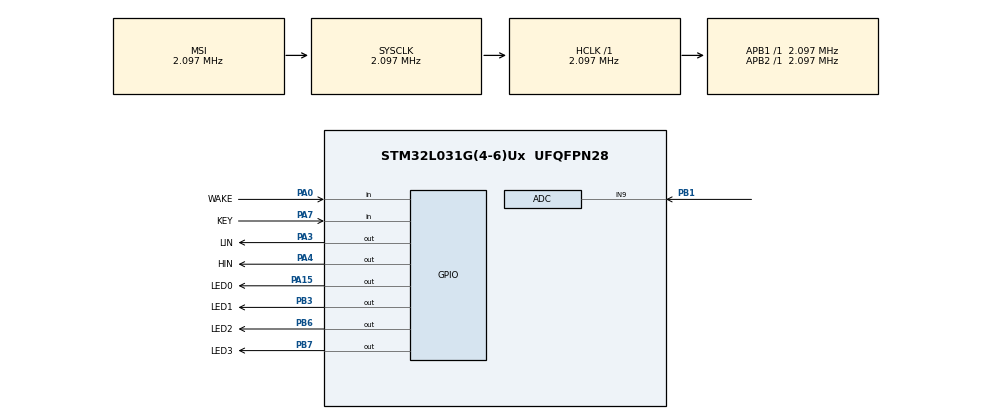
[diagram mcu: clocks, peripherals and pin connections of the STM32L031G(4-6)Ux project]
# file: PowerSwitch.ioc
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Mcu.Family=STM32L0
Mcu.Name=STM32L031G(4-6)Ux
Mcu.Package=UFQFPN28
PA0-CK_IN.GPIO_Label=WAKE
PA0-CK_IN.Signal=GPIO_Input
PA13.Mode=Serial_Wire
PA13.Signal=SYS_SWDIO
PA14.Mode=Serial_Wire
PA14.Signal=SYS_SWCLK
PA15.GPIO_Label=LED0
PA15.Signal=GPIO_Output
PA3.GPIO_Label=LIN
PA3.Signal=GPIO_Output
PA4.GPIO_Label=HIN
PA4.Signal=GPIO_Output
PA7.GPIO_Label=KEY
PA7.Signal=GPIO_Input
PB1.Mode=IN9
PB1.Signal=ADC_IN9
PB3.GPIO_Label=LED1
PB3.Signal=GPIO_Output
PB6.GPIO_Label=LED2
PB6.Signal=GPIO_Output
PB7.GPIO_Label=LED3
PB7.Signal=GPIO_Output
ProjectManager.HeapSize=0x200
ProjectManager.StackSize=0x400
ProjectManager.TargetToolchain=MDK-ARM V5.32
RCC.AHBFreq_Value=2097000
RCC.APB1Freq_Value=2097000
RCC.APB1TimFreq_Value=2097000
RCC.APB2Freq_Value=2097000
RCC.APB2TimFreq_Value=2097000
RCC.HCLKFreq_Value=2097000
RCC.HSE_VALUE=8000000
RCC.HSI16_VALUE=16000000
RCC.HSI_VALUE=16000000
RCC.LSE_VALUE=32768
RCC.MSI_VALUE=2097000
RCC.SYSCLKFreq_VALUE=2097000
RCC.VCOOutputFreq_Value=48000000
VP_SYS_VS_LPOM.Mode=PowerOptimisation
board=custom

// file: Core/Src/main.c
/* USER CODE BEGIN Header */
/**
  ******************************************************************************
  * @file           : main.c
  * @brief          : Main program body
  ******************************************************************************
  * @attention
  *
  * Copyright (c) 2025 STMicroelectronics.
  * All rights reserved.
  *
  * This software is licensed under terms that can be found in the LICENSE file
  * in the root directory of this software component.
  * If no LICENSE file comes with this software, it is provided AS-IS.
  *
  ******************************************************************************
  */
/* USER CODE END Header */
#include "main.h"
#include "adc.h"
#include "gpio.h"

/* USER CODE BEGIN PV */
// 参考Project1原始设计的电池参数（14串锂电池：42V-58.8V）
#define BATTERY_VOLTAGE_MIN 42.0f   // 14串最低电压 (3.0V * 14)
#define BATTERY_VOLTAGE_MAX 58.8f   // 14串最高电压 (4.2V * 14)
#define ADC_VREF 3.3f               // ADC参考电压

// ADC采样值转电压的计算公式：voltage = (ADC_Value / 4095.0) * 58.0
// 这意味着：实际电压 = (ADC / 4095) * ADC_VREF * 分压比
// 所以：分压比 = 58.0 / 3.3 = 17.58
#define VOLTAGE_DIVIDER_RATIO 17.58f  // 从Project1原始设计计算得出

// 电量分级阈值（参考Project1原始设计）
#define VOLTAGE_LEVEL_1 50.4f  // LED0与LED0+LED1的分界点
#define VOLTAGE_LEVEL_2 53.9f  // LED0+LED1与LED0+LED1+LED2的分界点
#define VOLTAGE_LEVEL_3 56.0f  // LED0+LED1+LED2与全部LED的分界点

// 按键相关变量
uint8_t openfilg = 1;  // 开关机标志 (默认开机)
uint32_t button_press_start_time = 0;  // 按键按下开始时间
uint8_t button_was_pressed = 0;  // 上一次循环按键状态
uint8_t key_display_active = 0;  // KEY按键按下时显示电量
/* USER CODE END PV */

void SystemClock_Config(void);
/* USER CODE BEGIN PFP */
// 根据电压显示电量LED（参考Project1原始设计）
void display_battery_voltage(float voltage);
// 处理KEY按键（PA7）长按开关机
void handle_key_button(void);
/* USER CODE END PFP */

int main(void)
{

  /* MCU Configuration--------------------------------------------------------*/

  /* Reset of all peripherals, Initializes the Flash interface and the Systick. */
  HAL_Init();

  /* Configure the system clock */
  SystemClock_Config();

  /* Initialize all configured peripherals */
  MX_GPIO_Init();
  MX_ADC_Init();
  /* USER CODE BEGIN 2 */
  int Value = 0;
  float voltage = 0.0;
  uint32_t current_time = 0;

  // 初始化：HIN开机（参考Project1，初始为RESET）
  HAL_GPIO_WritePin(HIN_GPIO_Port, HIN_Pin, GPIO_PIN_RESET);

  // 初始化所有LED为关闭
  HAL_GPIO_WritePin(LED0_GPIO_Port, LED0_Pin, GPIO_PIN_RESET);
  HAL_GPIO_WritePin(LED1_GPIO_Port, LED1_Pin, GPIO_PIN_RESET);
  HAL_GPIO_WritePin(LED2_GPIO_Port, LED2_Pin, GPIO_PIN_RESET);
  HAL_GPIO_WritePin(LED3_GPIO_Port, LED3_Pin, GPIO_PIN_RESET);
  /* USER CODE END 2 */

  /* Infinite loop */
  /* USER CODE BEGIN WHILE */
  while (1)
  {
	  // 读取ADC电压（参考Project1原始设计）
	  HAL_ADC_Start(&hadc);
	  HAL_ADC_PollForConversion(&hadc, HAL_MAX_DELAY);
	  Value = HAL_ADC_GetValue(&hadc);
	  voltage = (Value / 4095.0f) * 58.0f;  // 直接使用Project1的公式

	  // 处理KEY按键（PA7）- 长按3秒开关机（无论开关机状态都要检测）
	  handle_key_button();

	  // 根据开关机状态控制LED和电源（参考Project1原始设计）
	  if(openfilg == 1){
		  // ========== 开机状态 ==========

		  // 按KEY显示电量（display_battery_voltage内部会控制HIN）
		  if(key_display_active == 1){
			  display_battery_voltage(voltage);  // 内部会根据电压设置HIN
		  } else {
			  // 不按KEY时：LED全部熄灭，但HIN仍需根据电压控制
			  HAL_GPIO_WritePin(LED0_GPIO_Port, LED0_Pin, GPIO_PIN_RESET);
			  HAL_GPIO_WritePin(LED1_GPIO_Port, LED1_Pin, GPIO_PIN_RESET);
			  HAL_GPIO_WritePin(LED2_GPIO_Port, LED2_Pin, GPIO_PIN_RESET);
			  HAL_GPIO_WritePin(LED3_GPIO_Port, LED3_Pin, GPIO_PIN_RESET);

			  // 即使不按KEY，也要控制HIN（根据电压保护）
			  if(voltage >= BATTERY_VOLTAGE_MIN && voltage <= BATTERY_VOLTAGE_MAX){
				  HAL_GPIO_WritePin(HIN_GPIO_Port, HIN_Pin, GPIO_PIN_RESET);  // 正常电压：电源通
			  } else {
				  HAL_GPIO_WritePin(HIN_GPIO_Port, HIN_Pin, GPIO_PIN_SET);  // 异常电压：电源断
			  }
		  }

	  } else {
		  // ========== 关机状态 ==========

		  // 所有LED熄灭
		  HAL_GPIO_WritePin(LED0_GPIO_Port, LED0_Pin, GPIO_PIN_RESET);
		  HAL_GPIO_WritePin(LED1_GPIO_Port, LED1_Pin, GPIO_PIN_RESET);
		  HAL_GPIO_WritePin(LED2_GPIO_Port, LED2_Pin, GPIO_PIN_RESET);
		  HAL_GPIO_WritePin(LED3_GPIO_Port, LED3_Pin, GPIO_PIN_RESET);

		  // HIN=SET（电源断）
		  HAL_GPIO_WritePin(HIN_GPIO_Port, HIN_Pin, GPIO_PIN_SET);
	  }

	  HAL_Delay(50);  // 延时50ms
    /* USER CODE END WHILE */

  }
}

void SystemClock_Config(void)
{
  RCC_OscInitTypeDef RCC_OscInitStruct = {0};
  RCC_ClkInitTypeDef RCC_ClkInitStruct = {0};

  /** Configure the main internal regulator output voltage
  */
  __HAL_PWR_VOLTAGESCALING_CONFIG(PWR_REGULATOR_VOLTAGE_SCALE1);

  /** Initializes the RCC Oscillators according to the specified parameters
  * in the RCC_OscInitTypeDef structure.
  */
  RCC_OscInitStruct.OscillatorType = RCC_OSCILLATORTYPE_MSI;
  RCC_OscInitStruct.MSIState = RCC_MSI_ON;
  RCC_OscInitStruct.MSICalibrationValue = 0;
  RCC_OscInitStruct.MSIClockRange = RCC_MSIRANGE_5;
  RCC_OscInitStruct.PLL.PLLState = RCC_PLL_NONE;
  if (HAL_RCC_OscConfig(&RCC_OscInitStruct) != HAL_OK)
  {
    Error_Handler();
  }

  /** Initializes the CPU, AHB and APB buses clocks
  */
  RCC_ClkInitStruct.ClockType = RCC_CLOCKTYPE_HCLK|RCC_CLOCKTYPE_SYSCLK
                              |RCC_CLOCKTYPE_PCLK1|RCC_CLOCKTYPE_PCLK2;
  RCC_ClkInitStruct.SYSCLKSource = RCC_SYSCLKSOURCE_MSI;
  RCC_ClkInitStruct.AHBCLKDivider = RCC_SYSCLK_DIV1;
  RCC_ClkInitStruct.APB1CLKDivider = RCC_HCLK_DIV1;
  RCC_ClkInitStruct.APB2CLKDivider = RCC_HCLK_DIV1;

  if (HAL_RCC_ClockConfig(&RCC_ClkInitStruct, FLASH_LATENCY_0) != HAL_OK)
  {
    Error_Handler();
  }
}

/* USER CODE BEGIN 4 */

/**
 * @brief 根据电压显示电量LED（参考Project1原始设计）
 * @param voltage 当前电压值
 */
void display_battery_voltage(float voltage) {
    // 参考Project1的电压分级逻辑（每个分支都要设置HIN）
    if(voltage >= BATTERY_VOLTAGE_MIN && voltage < VOLTAGE_LEVEL_1){
        // 42-50.4V：LED0
        HAL_GPIO_WritePin(LED0_GPIO_Port, LED0_Pin, GPIO_PIN_SET);
        HAL_GPIO_WritePin(LED1_GPIO_Port, LED1_Pin, GPIO_PIN_RESET);
        HAL_GPIO_WritePin(LED2_GPIO_Port, LED2_Pin, GPIO_PIN_RESET);
        HAL_GPIO_WritePin(LED3_GPIO_Port, LED3_Pin, GPIO_PIN_RESET);
        HAL_GPIO_WritePin(HIN_GPIO_Port, HIN_Pin, GPIO_PIN_RESET);  // 正常电压：电源通
    } else if(voltage >= VOLTAGE_LEVEL_1 && voltage < VOLTAGE_LEVEL_2){
        // 50.4-53.9V：LED0+LED1
        HAL_GPIO_WritePin(LED0_GPIO_Port, LED0_Pin, GPIO_PIN_SET);
        HAL_GPIO_WritePin(LED1_GPIO_Port, LED1_Pin, GPIO_PIN_SET);
        HAL_GPIO_WritePin(LED2_GPIO_Port, LED2_Pin, GPIO_PIN_RESET);
        HAL_GPIO_WritePin(LED3_GPIO_Port, LED3_Pin, GPIO_PIN_RESET);
        HAL_GPIO_WritePin(HIN_GPIO_Port, HIN_Pin, GPIO_PIN_RESET);  // 正常电压：电源通
    } else if(voltage >= VOLTAGE_LEVEL_2 && voltage < VOLTAGE_LEVEL_3){
        // 53.9-56.0V：LED0+LED1+LED2
        HAL_GPIO_WritePin(LED0_GPIO_Port, LED0_Pin, GPIO_PIN_SET);
        HAL_GPIO_WritePin(LED1_GPIO_Port, LED1_Pin, GPIO_PIN_SET);
        HAL_GPIO_WritePin(LED2_GPIO_Port, LED2_Pin, GPIO_PIN_SET);
        HAL_GPIO_WritePin(LED3_GPIO_Port, LED3_Pin, GPIO_PIN_RESET);
        HAL_GPIO_WritePin(HIN_GPIO_Port, HIN_Pin, GPIO_PIN_RESET);  // 正常电压：电源通
    } else if(voltage >= VOLTAGE_LEVEL_3 && voltage <= BATTERY_VOLTAGE_MAX){
        // 56.0-58.8V：所有LED
        HAL_GPIO_WritePin(LED0_GPIO_Port, LED0_Pin, GPIO_PIN_SET);
        HAL_GPIO_WritePin(LED1_GPIO_Port, LED1_Pin, GPIO_PIN_SET);
        HAL_GPIO_WritePin(LED2_GPIO_Port, LED2_Pin, GPIO_PIN_SET);
        HAL_GPIO_WritePin(LED3_GPIO_Port, LED3_Pin, GPIO_PIN_SET);
        HAL_GPIO_WritePin(HIN_GPIO_Port, HIN_Pin, GPIO_PIN_RESET);  // 正常电压：电源通
    } else {
        // 异常电压（<42V 或 >58.8V）：LED0闪烁警告（1s周期）
        static uint32_t last_flash = 0;
        static uint8_t flash_state = 0;
        uint32_t now = HAL_GetTick();
        if(now - last_flash > 1000){  // 1秒闪烁一次
            flash_state = !flash_state;
            last_flash = now;
        }
        HAL_GPIO_WritePin(LED0_GPIO_Port, LED0_Pin, flash_state ? GPIO_PIN_SET : GPIO_PIN_RESET);
        HAL_GPIO_WritePin(LED1_GPIO_Port, LED1_Pin, GPIO_PIN_RESET);
        HAL_GPIO_WritePin(LED2_GPIO_Port, LED2_Pin, GPIO_PIN_RESET);
        HAL_GPIO_WritePin(LED3_GPIO_Port, LED3_Pin, GPIO_PIN_RESET);
        HAL_GPIO_WritePin(HIN_GPIO_Port, HIN_Pin, GPIO_PIN_SET);  // 异常电压：电源断（保护）
    }
}

/**
 * @brief 处理KEY按键（PA7）- 长按3秒开关机
 */
void handle_key_button(void) {
    uint8_t key_state = HAL_GPIO_ReadPin(KEY_GPIO_Port, KEY_Pin);
    uint32_t current_time = HAL_GetTick();

    // 检测按键状态变化（假设按下为低电平）
    if(key_state == GPIO_PIN_RESET){
        // 按键按下
        if(button_was_pressed == 0){
            // 刚刚按下，记录时间
            button_press_start_time = current_time;
            button_was_pressed = 1;
            key_display_active = 1;  // 按下立即显示电量
        } else {
            // 持续按下，检查是否达到3秒
            if(current_time - button_press_start_time > 3000){
                // 长按3秒，切换开关机状态
                openfilg = !openfilg;
                button_press_start_time = current_time + 1000;  // 防止重复触发
            }
        }
    } else {
        // 按键松开
        if(button_was_pressed == 1){
            button_was_pressed = 0;
            key_display_active = 0;  // 松开关闭显示
        }
    }
}

/* USER CODE END 4 */

void Error_Handler(void)
{
  __disable_irq();
  while (1)
  {
  }
}
